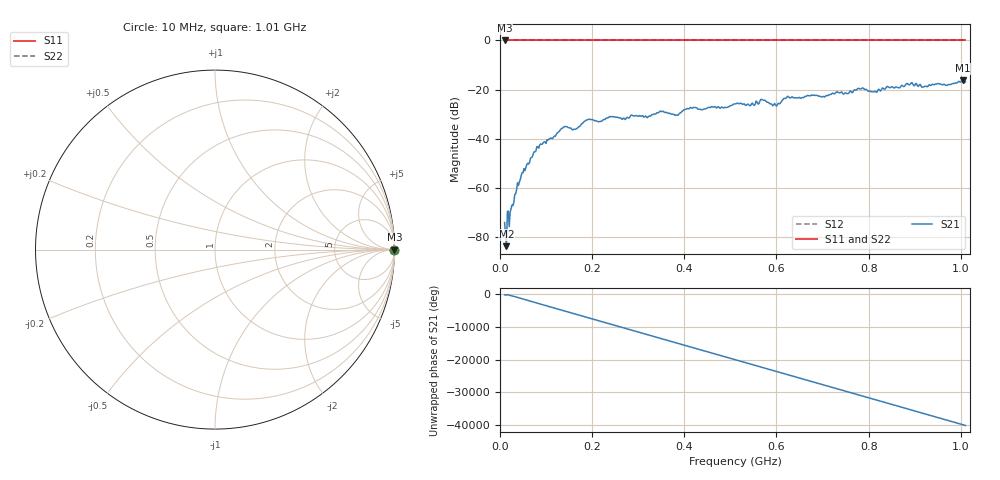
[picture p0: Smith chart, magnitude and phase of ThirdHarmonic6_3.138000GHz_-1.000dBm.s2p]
! 8/17/2025 9:21:41 AM
! C:\ANRITSUVNA\TEMP\TEMP.S2P
! CHANNEL.1
! TR.MEASUREMENT
! RAW.DATA
! RF.CORRECTION.OFF
! AVERAGING.OFF
! IF.BANDWIDTH: 5KHZ
! SWEEPTYPE:  FREQ.SWEEP(Linear)
! Reference Plane Port Info
! PORT:  PORT1  PORT2
! DISTANCE:  0  m  0  m
! TIME:  0  s  0  s
! PHASE.OFFSET:  0  deg.  0  deg.
! LOSS:  0  dB  0  dB
! REF.LOSS:  0  dB  0  dB
! REF.FREQ:  0  Hz  0  Hz
! Power Info
! POWER:  -20  dBm  -20  dBm
! EFF.POWER:  -20  dBm  -20  dBm
! SOURCE.ATTEN:  0  dB  0  dB
! TEST.ATTEN:  0  dB  0  dB
# GHZ S RI R 50.0
! FREQ.GHZ  S11RE  S11IM  S21RE  S21IM  S12RE  S12IM  S22RE  S22IM
!; PortSelection: Port_12
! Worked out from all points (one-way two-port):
!   501 points, 10 MHz to 1.01 GHz, reference 50 ohm
!   highest |S21| = -16.25 dB at 1.004 GHz (marker M1); lowest = -83.7 dB at 14 MHz (marker M2)
!   lowest |S11| = 0.0 dB at 10 MHz (marker M3)
!   |S11| at or under -10 dB: nowhere
!   |S22| runs from 0.0 to 0.0 dB; largest |S21 - S12| = 1.1
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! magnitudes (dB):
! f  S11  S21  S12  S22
! 10 MHz  0.0  -74.1  0.0  0.0
! 14 MHz  0.0  -83.7  0.0  0.0
! 16 MHz  0.0  -69.6  0.0  0.0
! 20 MHz  0.0  -75.8  0.0  0.0
! 24 MHz  0.0  -68.5  0.0  0.0
! 36 MHz  0.0  -60.8  0.0  0.0
! 48 MHz  0.0  -53.8  0.0  0.0
! 78 MHz  0.0  -44.9  0.0  0.0
! 136 MHz  0.0  -35.6  0.0  0.0
! 162 MHz  0.0  -36.2  0.0  0.0
! 178 MHz  0.0  -33.8  0.0  0.0
! 344 MHz  0.0  -29.4  0.0  0.0
! 384 MHz  0.0  -30.4  0.0  0.0
! 410 MHz  0.0  -27.9  0.0  0.0
! 510 MHz  0.0  -25.8  0.0  0.0
! 570 MHz  0.0  -24.1  0.0  0.0
! 596 MHz  0.0  -25.6  0.0  0.0
! 622 MHz  0.0  -23.3  0.0  0.0
! 678 MHz  0.0  -22.3  0.0  0.0
! 844 MHz  0.0  -19.1  0.0  0.0
! 1.004 GHz  0.0  -16.2  0.0  0.0
! 1.01 GHz  0.0  -16.9  0.0  0.0
